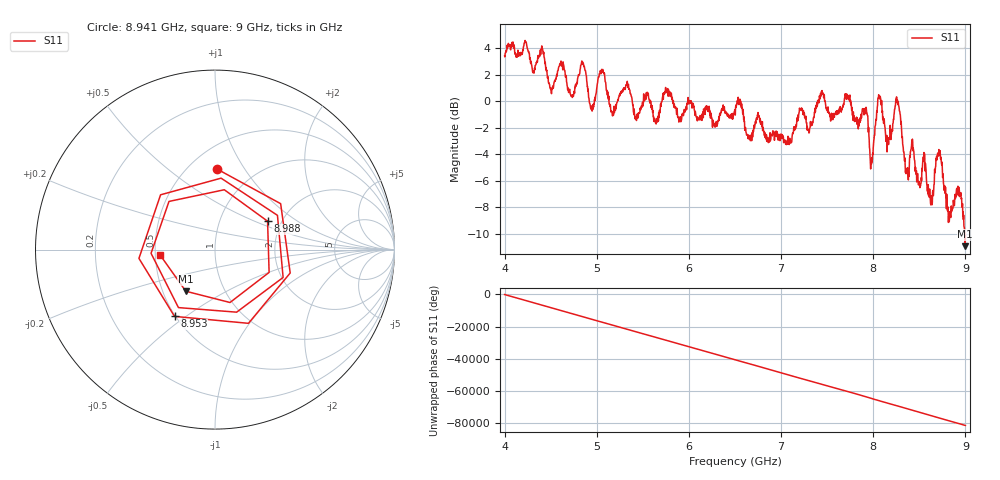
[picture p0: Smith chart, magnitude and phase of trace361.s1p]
! Created with skrf 1.8.0 (http://scikit-rf.org).
# Hz S RI R 50.0
!freq ReS11 ImS11
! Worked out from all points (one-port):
!   1601 points, 4 GHz to 9 GHz, reference 50 ohm
!   lowest |S11| = -11.0 dB at 8.997 GHz (marker M1), VSWR 1.79, Z = 32.7 - j16.5 ohm
!   |S11| at or under -10 dB: 8.992549 GHz to end of sweep
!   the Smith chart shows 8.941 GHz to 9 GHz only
!   S11 on the Smith chart (normalised r, x): 8.941 GHz: 0.67, +0.76; 8.953 GHz: 0.49, -0.45; 8.988 GHz: 1.69, +0.60; 9 GHz: 0.53, -0.03
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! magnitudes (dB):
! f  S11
! 4 GHz  3.4
! 4.506 GHz  0.7
! 4.625 GHz  2.8
! 4.734 GHz  0.3
! 4.853 GHz  2.8
! 4.944 GHz  -0.4
! 5.053 GHz  2.4
! 5.159 GHz  -0.8
! 5.25 GHz  0.4
! 5.875 GHz  -1.0
! 6.5 GHz  -0.8
! 7.125 GHz  -2.4
! 7.75 GHz  -0.1
! 7.916 GHz  -0.7
! 7.981 GHz  -4.8
! 8.062 GHz  0.4
! 8.156 GHz  -2.9
! 8.262 GHz  0.1
! 8.375 GHz  -5.4
! 8.425 GHz  -2.9
! 8.631 GHz  -7.5
! 8.712 GHz  -3.7
! 8.819 GHz  -8.7
! 8.941 GHz  -6.9
! 8.953 GHz  -7.2
! 8.988 GHz  -9.6
! 8.997 GHz  -11.0
! 9 GHz  -10.2
